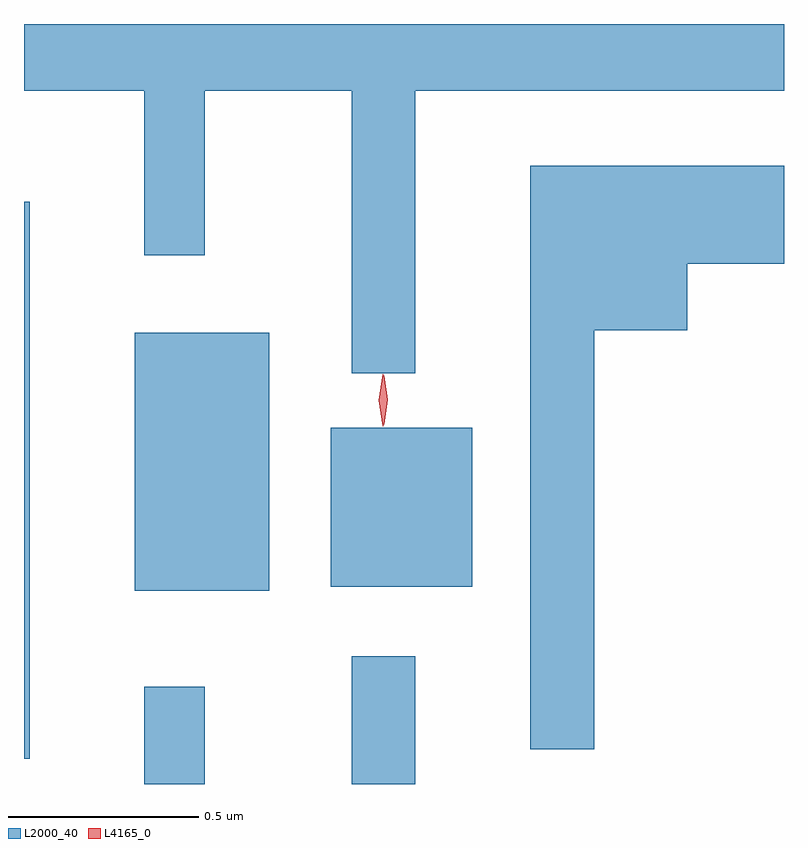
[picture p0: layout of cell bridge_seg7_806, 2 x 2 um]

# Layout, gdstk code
import gdstk
lib = gdstk.Library(unit=1e-6, precision=1e-09)
def R(c, l, rs):  # rectangles x0, y0, x1, y1
    for r in rs: c.add(gdstk.rectangle(r[:2], r[2:], *l))
def P(c, l, *ps):  # polygons
    for p in ps: c.add(gdstk.Polygon(p, *l))
L2000_40 = (2000, 40)
L4165_0 = (4165, 0)

bridge_seg7_806 = lib.new_cell('bridge_seg7_806')
R(bridge_seg7_806, L2000_40, [(252.916,1783.532,253.074,1783.788), (253.461,1783.532,253.629,1783.868), (252.599,1783.598,252.614,1785.064), (252.891,1784.041,253.244,1784.719), (253.406,1784.051,253.779,1784.469)])
P(bridge_seg7_806, L2000_40, [(253.629,1785.356),(254.599,1785.356),(254.599,1785.532),(252.599,1785.532),(252.599,1785.356),(252.916,1785.356),(252.916,1784.923),(253.074,1784.923),(253.074,1785.356),(253.461,1785.356),(253.461,1784.613),(253.629,1784.613)],
  [(254.099,1784.726),(254.344,1784.726),(254.344,1784.901),(254.599,1784.901),(254.599,1785.159),(253.931,1785.159),(253.931,1783.623),(254.099,1783.623)])
P(bridge_seg7_806, L4165_0, [(253.543,1784.473),(253.543,1784.474),(253.533,1784.542),(253.543,1784.61),(253.543,1784.61),(253.544,1784.61),(253.553,1784.542),(253.544,1784.474)],
  [(253.546,1784.478),(253.546,1784.479),(253.536,1784.543),(253.546,1784.607),(253.546,1784.607),(253.547,1784.607),(253.556,1784.543),(253.547,1784.479)])

lib.write_gds('bridge_seg7_806.gds')
